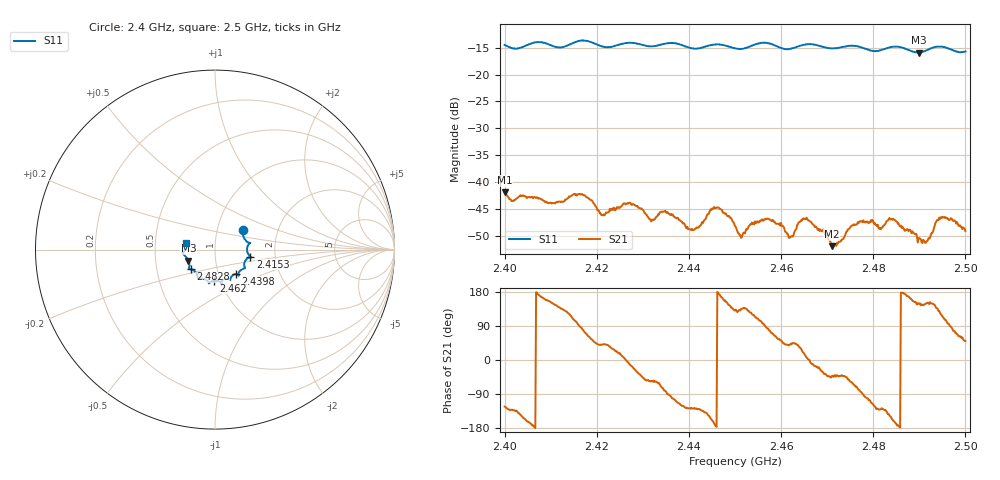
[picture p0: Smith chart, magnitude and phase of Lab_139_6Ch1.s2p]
# Hz S RI R 50
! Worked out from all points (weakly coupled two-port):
!   601 points, 2.4 GHz to 2.5 GHz, reference 50 ohm
!   highest |S21| = -41.88 dB at 2.4 GHz (marker M1); lowest = -51.9 dB at 2.471 GHz (marker M2)
!   lowest |S11| = -15.9 dB at 2.4898 GHz (marker M3), VSWR 1.38, Z = 36.9 - j4.63 ohm
!   |S11| at or under -10 dB: start of sweep to end of sweep
!   S12 and S22 are empty: the file has one direction only
!   S11 on the Smith chart (normalised r, x): 2.4 GHz: 1.33, +0.29; 2.4153 GHz: 1.48, -0.12; 2.4398 GHz: 1.21, -0.34; 2.462 GHz: 0.93, -0.33; 2.4828 GHz: 0.74, -0.17; 2.5 GHz: 0.72, +0.06
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2.4e9  0.1551 0.1068  -0.00437 -0.00676  0 0  0 0
2.415333e9  0.1965 -0.0391  -0.00171 0.00737  0 0  0 0
2.416667e9  0.2025 -0.043  0.000644 0.00765  0 0  0 0
2.421167e9  0.1739 -0.0549  0.00377 0.00319  0 0  0 0
2.426833e9  0.1684 -0.1027  0.00628 -0.000638  0 0  0 0
2.433333e9  0.1309 -0.1337  0.0024 -0.00442  0 0  0 0
2.439833e9  0.1156 -0.136  -0.00222 -0.00289  0 0  0 0
2.445833e9  0.0848 -0.1705  -0.00572 -0.00059  0 0  0 0
2.45e9  0.0654 -0.1625  -0.00252 0.00297  0 0  0 0
2.4515e9  0.0492 -0.166  -0.0022 0.00219  0 0  0 0
2.457167e9  0.0392 -0.192  0.000562 0.00453  0 0  0 0
2.462e9  -0.00521 -0.1729  0.00232 0.00205  0 0  0 0
2.464333e9  -0.0297 -0.1839  0.00375 0.00217  0 0  0 0
2.466667e9  -0.0343 -0.1881  0.00407 -0.000746  0 0  0 0
2.471e9  -0.0581 -0.1647  0.00187 -0.00171  0 0  0 0
2.477167e9  -0.0965 -0.1522  0.000569 -0.00425  0 0  0 0
2.482833e9  -0.1365 -0.1093  -0.00305 -0.00303  0 0  0 0
2.483333e9  -0.1403 -0.1089  -0.00354 -0.00276  0 0  0 0
2.489833e9  -0.148 -0.0612  -0.00259 0.00155  0 0  0 0
2.491833e9  -0.166 -0.0359  -0.00251 0.00138  0 0  0 0
2.494833e9  -0.1805 -0.0202  -0.00223 0.00408  0 0  0 0
2.5e9  -0.1593 0.0388  0.00225 0.00269  0 0  0 0
